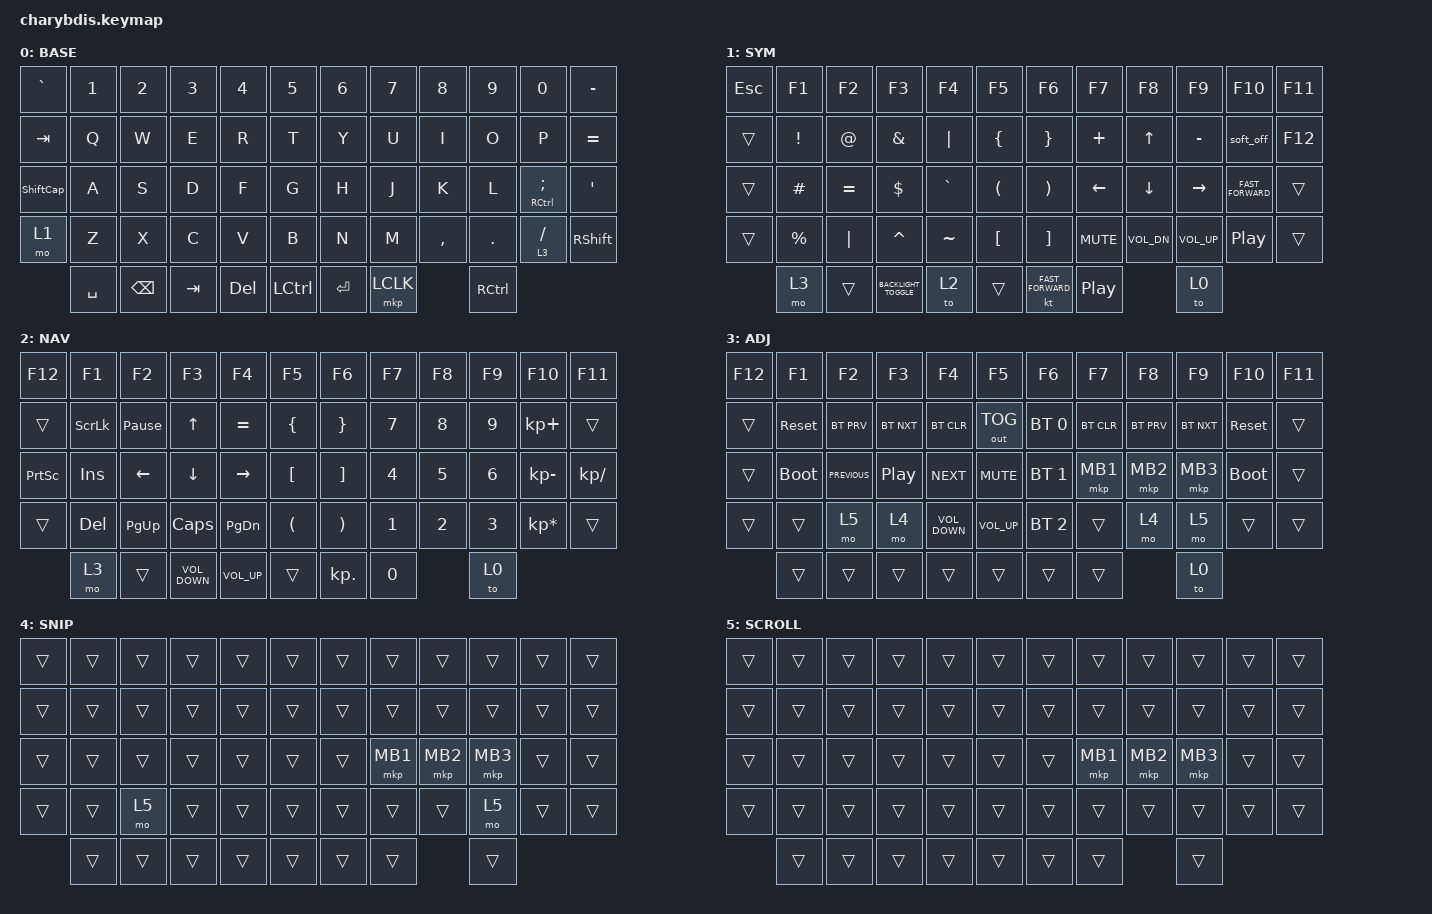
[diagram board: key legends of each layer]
#include <dt-bindings/zmk/mouse.h>
#include <behaviors/mouse_keys.dtsi>
#include <behaviors.dtsi>
#include <dt-bindings/zmk/bt.h>
#include <dt-bindings/zmk/keys.h>
#include <dt-bindings/zmk/outputs.h>
#include <dt-bindings/zmk/pointing.h>
#include <dt-bindings/zmk/rgb.h>

/ {
    chosen { zmk,matrix_transform = &default_transform; };
};

&mt {
    quick-tap-ms = <200>;
    flavor = "tap-preferred";
    tapping-term-ms = <170>;
};

&lt {
    quick-tap-ms = <200>;
    flavor = "tap-preferred";
    tapping-term-ms = <170>;
};

&led_strip {
    chain-length = <6>;
    chain-length = <25>; 
};

/ {
    combos {
        compatible = "zmk,combos";

        combo_esc {
            timeout-ms = <50>;
            key-positions = <0 1>;
            bindings = <&kp ESC>;
        };
    };

    behaviors {
        ShiftCap: ShiftCap {
            compatible = "zmk,behavior-tap-dance";
            label = "SHIFTCAP";
            #binding-cells = <0>;
            bindings = <&kp LEFT_SHIFT>, <&kt CAPSLOCK>;
        };
    };

    keymap {
        compatible = "zmk,keymap";

        BASE {
            bindings = <
&kp GRAVE  &kp N1     &kp N2         &kp N3   &kp N4      &kp N5            &kp N6            &kp N7     &kp N8     &kp N9             &kp N0          &kp MINUS
&kp TAB    &kp Q      &kp W          &kp E    &kp R       &kp T                        &kp Y  &kp U      &kp I      &kp O              &kp P           &kp EQUAL
&ShiftCap  &kp A      &kp S          &kp D    &kp F       &kp G                        &kp H  &kp J      &kp K      &kp L              &mt RCTRL SEMI  &kp APOS
&mo 1      &kp Z      &kp X          &kp C    &kp V       &kp B                        &kp N  &kp M      &kp COMMA  &kp DOT            &lt 3 SLASH     &kp RSHIFT
           &kp SPACE  &kp BACKSPACE  &kp TAB  &kp DELETE  &kp LEFT_CONTROL  &kp ENTER         &mkp LCLK             &kp RIGHT_CONTROL
            >;
        };

        SYM {
            bindings = <
&kp ESCAPE  &kp F1       &kp F2     &kp F3                  &kp F4     &kp F5                &kp F6                                     &kp F7            &kp F8          &kp F9           &kp F10             &kp F11
&trans      &kp EXCL     &kp AT     &kp AMPERSAND           &kp PIPE   &kp LEFT_BRACE                            &kp RIGHT_BRACE        &kp PLUS          &kp UP_ARROW    &kp MINUS        &soft_off           &kp F12
&trans      &kp HASH     &kp EQUAL  &kp DOLLAR              &kp GRAVE  &kp LEFT_PARENTHESIS                      &kp RIGHT_PARENTHESIS  &kp LEFT_ARROW    &kp DOWN_ARROW  &kp RIGHT        &kp C_FAST_FORWARD  &trans
&trans      &kp PERCENT  &kp PIPE   &kp CARET               &kp TILDE  &kp LEFT_BRACKET                          &kp RIGHT_BRACKET      &kp K_MUTE        &kp C_VOL_DN    &kp C_VOLUME_UP  &kp C_PP            &trans
            &mo 3        &trans     &kp C_BACKLIGHT_TOGGLE  &to 2      &trans                &kt C_FAST_FORWARD                         &kp C_PLAY_PAUSE                  &to 0
            >;
        };

        NAV {
            bindings = <
&kp F12          &kp F1          &kp F2           &kp F3             &kp F4           &kp F5    &kp F6                &kp F7  &kp F8  &kp F9  &kp F10          &kp F11
&trans           &kp SCROLLLOCK  &kp PAUSE_BREAK  &kp UP             &kp EQUAL        &kp LBRC              &kp RBRC  &kp N7  &kp N8  &kp N9  &kp KP_PLUS      &trans
&kp PRINTSCREEN  &kp INSERT      &kp LEFT         &kp DOWN           &kp RIGHT        &kp LBKT              &kp RBKT  &kp N4  &kp N5  &kp N6  &kp KP_MINUS     &kp KP_DIVIDE
&trans           &kp DEL         &kp PG_UP        &kp CAPS           &kp PG_DN        &kp LPAR              &kp RPAR  &kp N1  &kp N2  &kp N3  &kp KP_MULTIPLY  &trans
                 &mo 3           &trans           &kp C_VOLUME_DOWN  &kp C_VOLUME_UP  &trans    &kp KP_DOT            &kp N0          &to 0
            >;
        };

        ADJ {
            bindings = <
&kp F12  &kp F1       &kp F2          &kp F3            &kp F4             &kp F5           &kp F6                &kp F7      &kp F8      &kp F9      &kp F10      &kp F11
&trans   &sys_reset   &bt BT_PRV      &bt BT_NXT        &bt BT_CLR         &out OUT_TOG             &bt BT_SEL 0  &bt BT_CLR  &bt BT_PRV  &bt BT_NXT  &sys_reset   &trans
&trans   &bootloader  &kp C_PREVIOUS  &kp C_PLAY_PAUSE  &kp C_NEXT         &kp C_MUTE               &bt BT_SEL 1  &mkp MB1    &mkp MB2    &mkp MB3    &bootloader  &trans
&trans   &trans       &mo 5           &mo 4             &kp C_VOLUME_DOWN  &kp C_VOLUME_UP          &bt BT_SEL 2  &trans      &mo 4       &mo 5       &trans       &trans
         &trans       &trans          &trans            &trans             &trans           &trans                &trans                  &to 0
            >;
        };

        SNIP {
            bindings = <
&trans  &trans  &trans  &trans  &trans  &trans  &trans          &trans    &trans    &trans    &trans  &trans
&trans  &trans  &trans  &trans  &trans  &trans          &trans  &trans    &trans    &trans    &trans  &trans
&trans  &trans  &trans  &trans  &trans  &trans          &trans  &mkp MB1  &mkp MB2  &mkp MB3  &trans  &trans
&trans  &trans  &mo 5   &trans  &trans  &trans          &trans  &trans    &trans    &mo 5     &trans  &trans
        &trans  &trans  &trans  &trans  &trans  &trans          &trans              &trans
            >;
        };

        SCROLL {
            bindings = <
&trans  &trans  &trans  &trans  &trans  &trans  &trans          &trans    &trans    &trans    &trans  &trans
&trans  &trans  &trans  &trans  &trans  &trans          &trans  &trans    &trans    &trans    &trans  &trans
&trans  &trans  &trans  &trans  &trans  &trans          &trans  &mkp MB1  &mkp MB2  &mkp MB3  &trans  &trans
&trans  &trans  &trans  &trans  &trans  &trans          &trans  &trans    &trans    &trans    &trans  &trans
        &trans  &trans  &trans  &trans  &trans  &trans          &trans              &trans
            >;
        };
    };
};
